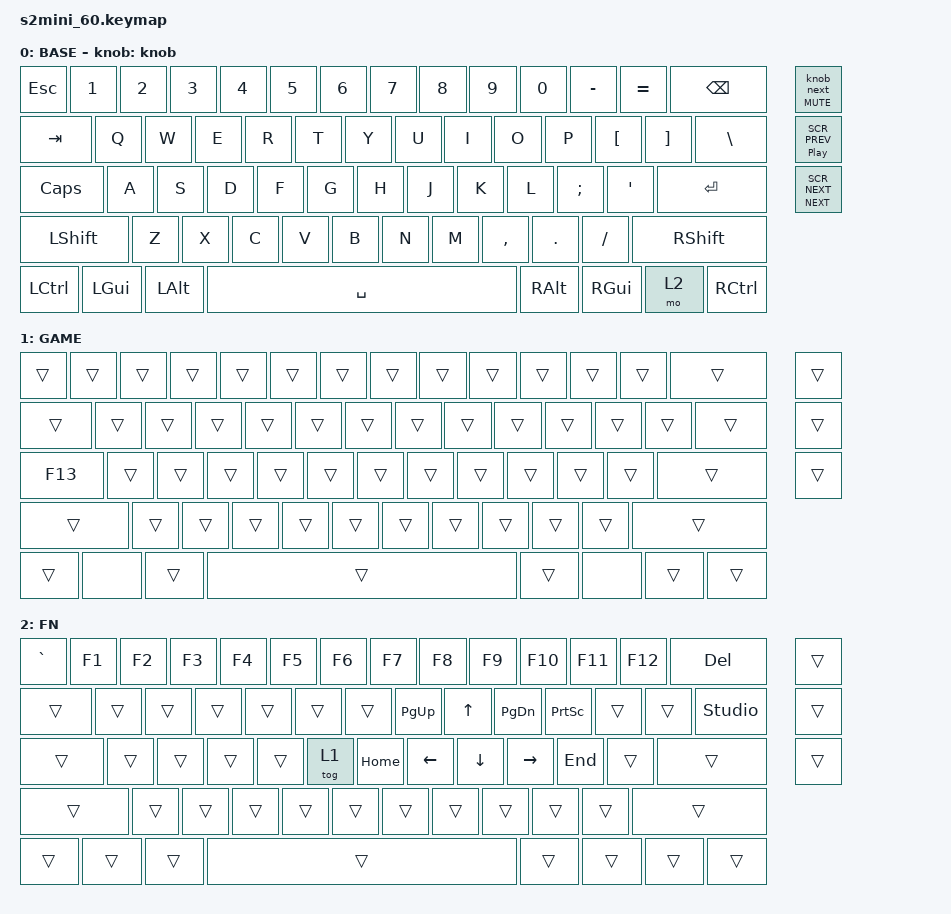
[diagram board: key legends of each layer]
/*
 * 60% ANSI on the S2 mini: layers BASE, GAME, FN; knob with modes and OLED module buttons.
 * The last row of the keymap is the module buttons: PUSH (knob), CON, BAK.
 *
 * Buttons next to the screen (no Fn; tap / hold for more than 0.3 s):
 * PUSH       = next knob mode: VOLUME → SCROLL → TRACK → BRIGHT / mute
 * CON        = previous screen view / play-pause
 * BAK        = next screen view / next track
 * Fn + G     = GAME mode (on/off): Win does nothing, Caps Lock sends F13
 *              (bindable in games, does not change letter case)
 * Fn + \     = unlock ZMK Studio
 *
 * Layer names (display-name) are shown on the screen; change them here or in ZMK Studio.
 * Knob mode names are in the knob node (mode-names).
 * SPDX-License-Identifier: MIT
 */
#include <behaviors.dtsi>
#include <dt-bindings/zmk/keys.h>
#include <dt-bindings/zmk/pointing.h>
#include <dt-bindings/zmk/s2mini.h>

/ {
    behaviors {
        knob_vol: knob_vol {
            compatible = "zmk,behavior-sensor-rotate";
            #sensor-binding-cells = <0>;
            bindings = <&kp C_VOL_UP>, <&kp C_VOL_DN>;
        };
        knob_scroll: knob_scroll {
            compatible = "zmk,behavior-sensor-rotate";
            #sensor-binding-cells = <0>;
            bindings = <&msc SCRL_DOWN>, <&msc SCRL_UP>;
            tap-ms = <30>;
        };
        knob_track: knob_track {
            compatible = "zmk,behavior-sensor-rotate";
            #sensor-binding-cells = <0>;
            bindings = <&kp C_NEXT>, <&kp C_PREV>;
        };
        knob_bright: knob_bright {
            compatible = "zmk,behavior-sensor-rotate";
            #sensor-binding-cells = <0>;
            bindings = <&kp C_BRI_UP>, <&kp C_BRI_DN>;
        };
        knob: knob {
            compatible = "zmk,behavior-knob-modes";
            #sensor-binding-cells = <0>;
            display-name = "Knob";
            modes = <&knob_vol &knob_scroll &knob_track &knob_bright>;
            mode-names = "VOLUME", "SCROLL", "TRACK", "BRIGHT";
        };
        knob_next: knob_next {
            compatible = "zmk,behavior-knob-next";
            #binding-cells = <0>;
            display-name = "Knob mode";
        };
        scr_view: scr_view {
            compatible = "zmk,behavior-screen-view";
            #binding-cells = <1>;
            display-name = "Screen view";
        };
        /* Buttons next to the screen: tap = screen/knob, hold = media */
        push_ht: push_ht {
            compatible = "zmk,behavior-hold-tap";
            #binding-cells = <2>;
            display-name = "Knob button";
            flavor = "tap-preferred";
            tapping-term-ms = <300>;
            bindings = <&kp>, <&knob_next>;
        };
        view_ht: view_ht {
            compatible = "zmk,behavior-hold-tap";
            #binding-cells = <2>;
            display-name = "Screen button";
            flavor = "tap-preferred";
            tapping-term-ms = <300>;
            bindings = <&kp>, <&scr_view>;
        };
    };

    keymap {
        compatible = "zmk,keymap";

        base {
            display-name = "BASE";
            bindings = <
&kp ESC   &kp N1   &kp N2   &kp N3 &kp N4 &kp N5 &kp N6 &kp N7 &kp N8 &kp N9    &kp N0   &kp MINUS &kp EQUAL &kp BSPC
&kp TAB   &kp Q    &kp W    &kp E  &kp R  &kp T  &kp Y  &kp U  &kp I  &kp O     &kp P    &kp LBKT  &kp RBKT  &kp BSLH
&kp CAPS  &kp A    &kp S    &kp D  &kp F  &kp G  &kp H  &kp J  &kp K  &kp L     &kp SEMI &kp SQT   &kp RET
&kp LSHFT &kp Z    &kp X    &kp C  &kp V  &kp B  &kp N  &kp M  &kp COMMA &kp DOT &kp FSLH &kp RSHFT
&kp LCTRL &kp LGUI &kp LALT &kp SPACE &kp RALT &kp RGUI &mo 2 &kp RCTRL
&push_ht C_MUTE 0 &view_ht C_PP SCR_PREV &view_ht C_NEXT SCR_NEXT
            >;
            sensor-bindings = <&knob>;
        };

        game_layer: game {
            display-name = "GAME";
            bindings = <
&trans    &trans   &trans   &trans &trans &trans &trans &trans &trans &trans    &trans   &trans    &trans    &trans
&trans    &trans   &trans   &trans &trans &trans &trans &trans &trans &trans    &trans   &trans    &trans    &trans
&kp F13   &trans   &trans   &trans &trans &trans &trans &trans &trans &trans    &trans   &trans    &trans
&trans    &trans   &trans   &trans &trans &trans &trans &trans &trans &trans    &trans   &trans
&trans    &none    &trans   &trans &trans &none  &trans &trans
&trans    &trans   &trans
            >;
        };

        fn {
            display-name = "FN";
            bindings = <
&kp GRAVE &kp F1 &kp F2 &kp F3 &kp F4 &kp F5 &kp F6  &kp F7    &kp F8    &kp F9     &kp F10   &kp F11 &kp F12 &kp DEL
&trans    &trans &trans &trans &trans &trans &trans  &kp PG_UP &kp UP    &kp PG_DN  &kp PSCRN &trans  &trans  &studio_unlock
&trans    &trans &trans &trans &trans &tog 1 &kp HOME &kp LEFT &kp DOWN  &kp RIGHT  &kp END   &trans  &trans
&trans    &trans &trans &trans &trans &trans &trans  &trans    &trans    &trans     &trans    &trans
&trans    &trans &trans &trans &trans &trans &trans  &trans
&trans    &trans     &trans
            >;
        };
    };
};
